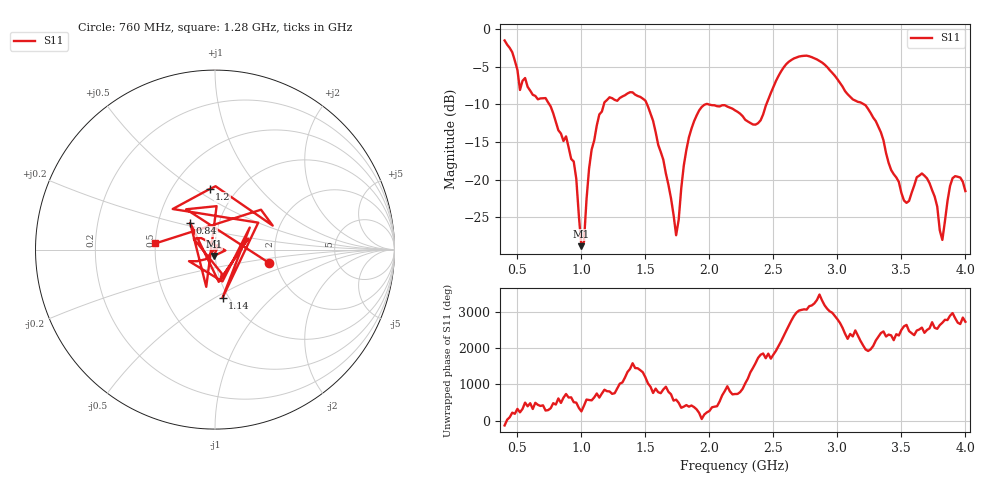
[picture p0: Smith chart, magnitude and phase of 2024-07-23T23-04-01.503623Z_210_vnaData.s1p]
!Created with skrf (http://scikit-rf.org).
# Hz S RI R 50.0
!freq ReS11 ImS11
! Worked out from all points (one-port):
!   181 points, 400 MHz to 4 GHz, reference 50 ohm
!   lowest |S11| = -28.8 dB at 1 GHz (marker M1), VSWR 1.08, Z = 49.2 - j3.52 ohm
!   |S11| at or under -10 dB: 1.513 GHz to 1.967 GHz (454.2 MHz wide, 26.1 % of centre); 1.996 GHz to 2.444 GHz (448.7 MHz wide, 20.2 % of centre); 3.209 GHz to end of sweep (the widest 3 of 4)
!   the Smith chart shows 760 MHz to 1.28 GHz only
!   S11 on the Smith chart (normalised r, x): 760 MHz: 1.82, -0.29; 840 MHz: 0.73, +0.22; 1.14 GHz: 0.94, -0.54; 1.2 GHz: 0.75, +0.57; 1.28 GHz: 0.50, +0.04
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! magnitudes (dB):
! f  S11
! 400 MHz  -1.5
! 520 MHz  -8.1
! 760 MHz  -10.3
! 840 MHz  -13.9
! 860 MHz  -14.9
! 940 MHz  -17.6
! 1 GHz  -28.8
! 1.02 GHz  -28.2
! 1.08 GHz  -16.0
! 1.14 GHz  -11.3
! 1.2 GHz  -9.4
! 1.28 GHz  -9.5
! 1.3 GHz  -9.1
! 1.5 GHz  -9.5
! 1.74 GHz  -27.4
! 1.76 GHz  -25.3
! 1.82 GHz  -16.0
! 1.92 GHz  -10.8
! 2.2 GHz  -10.8
! 2.38 GHz  -12.5
! 2.66 GHz  -3.9
! 3.1 GHz  -9.0
! 3.3 GHz  -12.2
! 3.56 GHz  -22.8
! 3.7 GHz  -19.8
! 3.82 GHz  -28.0
! 3.9 GHz  -19.8
! 4 GHz  -21.5
